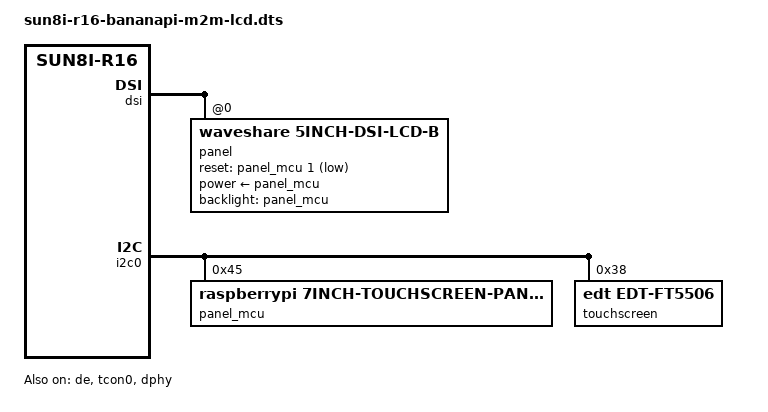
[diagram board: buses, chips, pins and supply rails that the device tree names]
// SPDX-License-Identifier: (GPL-2.0+ OR MIT)
/*
 * BPI-M2 Magic + Waveshare 5inch DSI LCD (B), 800x480, 1-lane MIPI DSI,
 * connected through the Rev F "bpi24-dsi-flex" adapter
 * (CN2 24-way 0.5 mm <-> RPi 15-way DSI 1.0 mm).
 *
 * DRAFT — not yet built or booted.
 *
 * WHAT THE CABLE CARRIES (Rev F netlist, build_flex.py):
 *   CN2  1/2   D0_N/D0_P   ->  panel 8/9
 *   CN2  3/4   D1_N/D1_P   ->  panel 2/3     (unused: this panel is 1-lane)
 *   CN2  5/6   CK_N/CK_P   ->  panel 5/6
 *   CN2 13/14  SDA/SCL     ->  panel 12/11
 *   CN2 21/22  GND         ->  panel 1/4/7/10/13
 *   panel 14/15 3V3        <-  external solder ear (NOT from CN2)
 *
 * WHAT THE CABLE DOES *NOT* CARRY — deliberately isolated:
 *   CN2 15 TP-INT (PB5), 16 TP-RST (PB6), 17 LCD-BL-EN (PL4),
 *   18 LCD-RST (PL5), 19 LCD-PWR-EN (PB7), 20 LCD-PWM (PH0),
 *   7-10 D2/D3, 11/12 NC, 23/24 PS.
 * This matches the RPi DSI connector, which has no pins for any of them:
 * panel reset, bridge power and backlight all go through the 0x45 MCU, and
 * there is no touch interrupt line at all -> touch MUST be polled.
 *
 * TODO before first boot:
 *   - Confirm PH2/PH3 belong to i2c0 (TWI1 is PH4/PH5 per the 40-pin table,
 *     so PH2/PH3 is most likely TWI0 — check the R16 manual pin-mux tables).
 *   - Confirm the 0x45 MCU speaks the RPi ATTINY register map. If it does, the
 *     stock rpi-panel-attiny-regulator below works as-is; if not, that node
 *     needs a Waveshare variant driver (see Context.md).
 *   - edt-ft5x06 needs the RPi polling patch backported — mainline requires an
 *     IRQ and there is no IRQ on this cable.
 *   - Real ws_800_480 porches from the Lyra DTS; values below are placeholders.
 */

#include "sun8i-r16-bananapi-m2m.dts"

&de {
	status = "okay";
};

&tcon0 {
	status = "okay";
};

&dphy {
	status = "okay";
};

&dsi {
	status = "okay";

	panel@0 {
		compatible = "waveshare,5inch-dsi-lcd-b";
		reg = <0>;

		/* Everything below comes from the MCU on i2c0 @ 0x45, exactly as on
		 * the RPi: the cable has no GPIO for any of it.
		 */
		power-supply = <&panel_mcu>;
		backlight = <&panel_mcu>;
		reset-gpios = <&panel_mcu 1 GPIO_ACTIVE_LOW>;
	};
};

/*
 * CN2-13 TP-SDA = PH3, CN2-14 TP-SCK = PH2.
 * The panel MCU (0x45) and the touch controller (0x38) share this bus.
 */
&i2c0 {
	status = "okay";

	panel_mcu: regulator@45 {
		compatible = "raspberrypi,7inch-touchscreen-panel-regulator";
		reg = <0x45>;
		gpio-controller;
		#gpio-cells = <2>;
	};

	touchscreen@38 {
		compatible = "edt,edt-ft5506";
		reg = <0x38>;
		/* No interrupt: the RPi DSI connector has no INT pin, so the Rev F
		 * cable cannot carry one. Requires the polling patch.
		 */
		touchscreen-size-x = <800>;
		touchscreen-size-y = <480>;
		touchscreen-inverted-x;
		touchscreen-inverted-y;
	};
};
